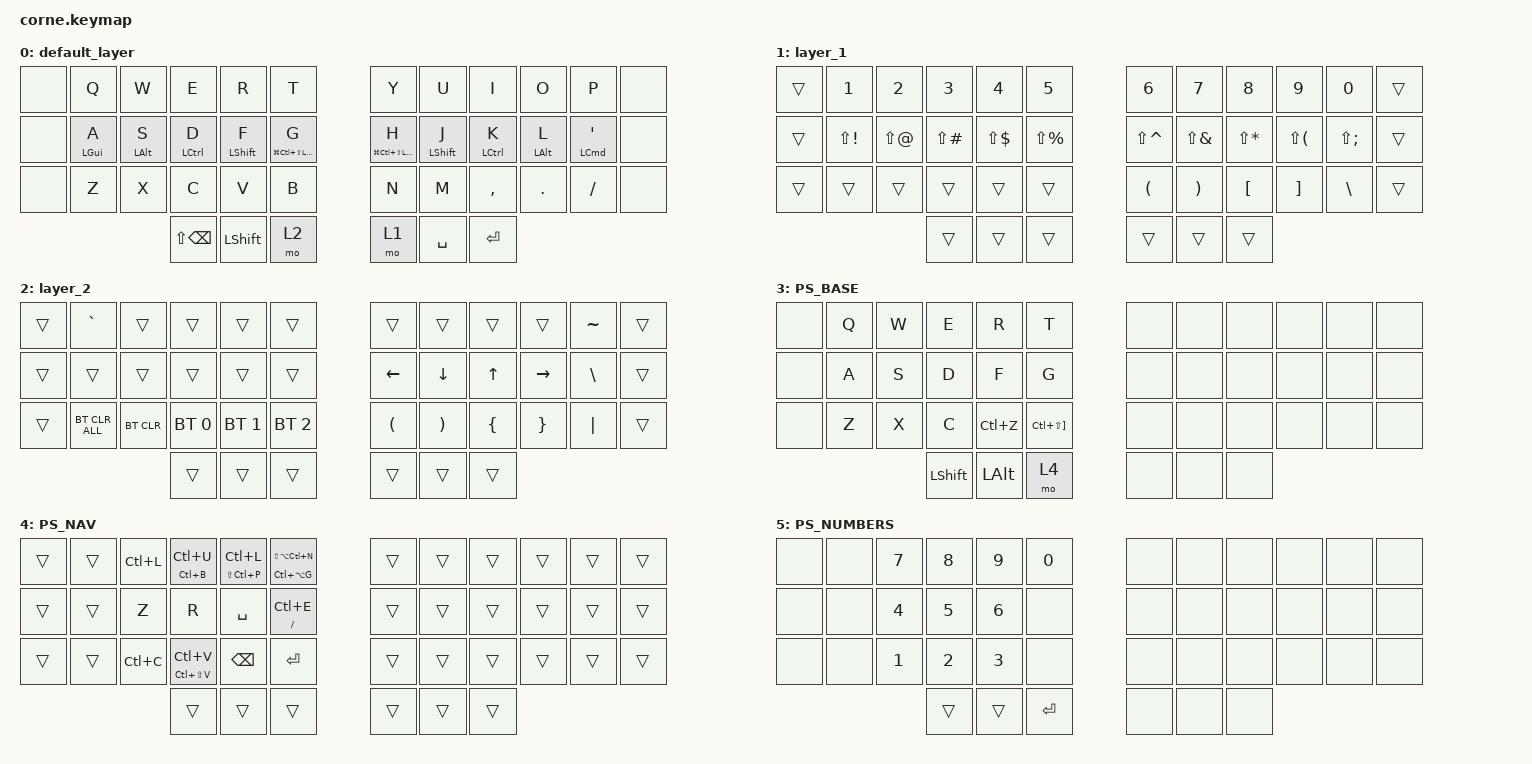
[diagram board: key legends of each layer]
/*
 * Copyright (c) 2020 The ZMK Contributors
 *
 * SPDX-License-Identifier: MIT
 */

#include <behaviors.dtsi>
#include <dt-bindings/zmk/bt.h>
#include <dt-bindings/zmk/keys.h>

/ {
    behaviors {
        hml: hml {
            compatible = "zmk,behavior-hold-tap";
            label = "HML";
            bindings = <&kp>, <&kp>;

            #binding-cells = <2>;
            tapping-term-ms = <280>;
            quick-tap-ms = <175>;
            require-prior-idle-ms = <80>;
            flavor = "balanced";
            hold-trigger-key-positions = <6 7 8 9 10 11 18 19 20 21 22 23 30 31 32 33 34 35 39 40 40 41 36 37 38>;
            hold-trigger-on-release;
        };

        hmr: hmr {
            compatible = "zmk,behavior-hold-tap";
            label = "HMR";
            bindings = <&kp>, <&kp>;

            #binding-cells = <2>;
            tapping-term-ms = <280>;
            quick-tap-ms = <175>;
            require-prior-idle-ms = <80>;
            flavor = "balanced";
            hold-trigger-key-positions = <0 1 2 4 5 12 13 14 15 16 17 24 25 26 27 28 29 36 37 38 3 39 40 41>;
            hold-trigger-on-release;
        };

        hyper_left: hyper_left {
            compatible = "zmk,behavior-hold-tap";
            label = "HYPER_LEFT";
            bindings = <&hyper>, <&kp>;

            #binding-cells = <2>;
            tapping-term-ms = <280>;
            quick-tap-ms = <170>;
            require-prior-idle-ms = <150>;
            flavor = "balanced";
            hold-trigger-key-positions = <6 7 8 9 10 11 18 19 20 21 22 23 30 31 32 33 34 35 39 40 41 38 36 37 38 36 37 38 39 40 41>;
        };

        hyper_right: hyper_right {
            compatible = "zmk,behavior-hold-tap";
            label = "HYPER_RIGHT";
            bindings = <&hyper>, <&kp>;

            #binding-cells = <2>;
            tapping-term-ms = <280>;
            quick-tap-ms = <170>;
            require-prior-idle-ms = <150>;
            flavor = "balanced";
            hold-trigger-key-positions = <0 1 2 3 4 5 12 13 14 15 16 17 24 25 26 27 28 29 36 37 38 39 40 41>;
        };

        td_laso_clear_selection: td_laso_clear_selection {
            compatible = "zmk,behavior-tap-dance";
            label = "TD_LASO_CLEAR_SELECTION";
            #binding-cells = <0>;
            bindings = <&kp L>, <&kp LC(D)>;

            tapping-term-ms = <400>;
        };

        td_marquee_reselect: td_marquee_reselect {
            compatible = "zmk,behavior-tap-dance";
            label = "TD_MARQUEE_RESELECT";
            #binding-cells = <0>;
            bindings = <&kp M>, <&kp LC(LS(D))>;

            tapping-term-ms = <400>;
        };

        td_brush_brush_erase: td_brush_brush_erase {
            compatible = "zmk,behavior-tap-dance";
            label = "TD_BRUSH_BRUSH_ERASE";
            #binding-cells = <0>;
            bindings = <&kp B>, <&kp GRAVE>;

            tapping-term-ms = <350>;
        };
    };

    combos {
        compatible = "zmk,combos";

        jk_esc {
            bindings = <&kp ESC>;
            key-positions = <19 20>;
            layers = <0 1 2>;
        };

        kl_und {
            bindings = <&kp UNDERSCORE>;
            key-positions = <33 32>;
            layers = <0 1 2>;
        };

        minus {
            bindings = <&kp MINUS>;
            key-positions = <20 21>;
            layers = <0 1 2>;
        };

        semicolon {
            bindings = <&kp SEMICOLON>;
            key-positions = <22 21>;
            layers = <0 1 2>;
        };

        equal {
            bindings = <&kp EQUAL>;
            key-positions = <19 18>;
            layers = <0 1 2>;
        };

        backtick {
            bindings = <&kp GRAVE>;
            key-positions = <1 2>;
            layers = <0 1 2>;
        };

        pipe {
            bindings = <&kp PIPE>;
            key-positions = <20 32>;
            layers = <0 1 2>;
        };

        right_parentheses {
            bindings = <&kp RIGHT_PARENTHESIS>;
            key-positions = <18 6>;
            layers = <0 1 2>;
        };

        left_parentheses {
            bindings = <&kp LEFT_PARENTHESIS>;
            key-positions = <5 17>;
            layers = <0 1 2>;
        };

        left_bracket {
            bindings = <&kp LEFT_BRACKET>;
            key-positions = <17 29>;
            layers = <0 1 2>;
        };

        right_bracket {
            bindings = <&kp RIGHT_BRACKET>;
            key-positions = <18 30>;
            layers = <0 1 2>;
        };

        tab {
            bindings = <&kp TAB>;
            key-positions = <16 15>;
            layers = <0 1 2 5>;
        };

        at {
            bindings = <&kp AT>;
            key-positions = <16 17>;
            layers = <0 1 2>;
        };

        left_brace {
            bindings = <&kp LEFT_BRACE>;
            key-positions = <16 28>;
            layers = <0 1 2>;
        };

        right_brace {
            bindings = <&kp RIGHT_BRACE>;
            key-positions = <19 31>;
            layers = <0 1 2>;
        };

        PS_TO_BASE_LAYER {
            bindings = <&to 3>;
            key-positions = <2 3 4>;
            layers = <0 5>;
        };

        PS_TO_DEFAULT_LAYER {
            bindings = <&to 0>;
            key-positions = <1 2 3>;
            layers = <3 4>;
        };

        PS_Invert_Selection {
            bindings = <&kp LC(LS(I))>;
            key-positions = <3 3 4>;
            layers = <3 4>;
        };

        PS_TO_NUMBERS_LAYER {
            bindings = <&to 5>;
            key-positions = <2 3 4>;
            layers = <3 4>;
        };

        PS_ENTER {
            bindings = <&kp ENTER>;
            key-positions = <16 17>;
            layers = <1 2 0>;
        };
    };

    macros {
        hyper: hyper {
            compatible = "zmk,behavior-macro";
            #binding-cells = <0>;
            bindings = <&kp LEFT_COMMAND &kp LEFT_ALT &kp LEFT_CONTROL &kp LEFT_SHIFT>;
            label = "HYPER";
        };
    };

    keymap {
        compatible = "zmk,keymap";

        default_layer {
            bindings = <
&none  &kp Q        &kp W            &kp E                &kp R              &kp T                      &kp Y                    &kp U              &kp I                &kp O            &kp P                           &none
&none  &hml LGUI A  &hml LEFT_ALT S  &hml LEFT_CONTROL D  &hml LEFT_SHIFT F  &hml LG(LC(LS(LALT))) G    &hmr LG(LC(LS(LALT))) H  &hmr LEFT_SHIFT J  &hmr LEFT_CONTROL K  &hmr LEFT_ALT L  &hmr LEFT_COMMAND SINGLE_QUOTE  &none
&none  &kp Z        &kp X            &kp C                &kp V              &kp B                      &kp N                    &kp M              &kp COMMA            &kp DOT          &kp FSLH                        &none
                                     &kp LS(BACKSPACE)    &kp LEFT_SHIFT     &mo 2                      &mo 1                    &kp SPACE          &kp ENTER
            >;
        };

        layer_1 {
            bindings = <
&trans  &kp N1        &kp N2      &kp N3         &kp N4        &kp N5           &kp N6                &kp N7                 &kp N8            &kp N9             &kp N0             &trans
&trans  &kp LS(EXCL)  &kp LS(AT)  &kp LS(POUND)  &kp LS(DLLR)  &kp LS(PRCNT)    &kp LS(CARET)         &kp LS(AMPS)           &kp LS(STAR)      &kp LS(LPAR)       &kp LS(SEMICOLON)  &trans
&trans  &trans        &trans      &trans         &trans        &trans           &kp LEFT_PARENTHESIS  &kp RIGHT_PARENTHESIS  &kp LEFT_BRACKET  &kp RIGHT_BRACKET  &kp BACKSLASH      &trans
                                  &trans         &trans        &trans           &trans                &trans                 &trans
            >;
        };

        layer_2 {
            bindings = <
&trans  &kp GRAVE       &trans      &trans        &trans        &trans          &trans                &trans                 &trans          &trans           &kp TILDE      &trans
&trans  &trans          &trans      &trans        &trans        &trans          &kp LEFT              &kp DOWN               &kp UP          &kp RIGHT        &kp BACKSLASH  &trans
&trans  &bt BT_CLR_ALL  &bt BT_CLR  &bt BT_SEL 0  &bt BT_SEL 1  &bt BT_SEL 2    &kp LEFT_PARENTHESIS  &kp RIGHT_PARENTHESIS  &kp LEFT_BRACE  &kp RIGHT_BRACE  &kp PIPE       &trans
                                    &trans        &trans        &trans          &trans                &trans                 &trans
            >;
        };

        PS_BASE {
            bindings = <
&none  &kp Q  &kp W  &kp E           &kp R         &kp T                        &none  &none  &none  &none  &none  &none
&none  &kp A  &kp S  &kp D           &kp F         &kp G                        &none  &none  &none  &none  &none  &none
&none  &kp Z  &kp X  &kp C           &kp LC(Z)     &kp LC(LS(RIGHT_BRACKET))    &none  &none  &none  &none  &none  &none
                     &kp LEFT_SHIFT  &kp LEFT_ALT  &mo 4                        &none  &none  &none
            >;
        };

        PS_NAV {
            bindings = <
&trans  &trans  &kp LC(L)  &mt LC(B) LC(U)      &mt LS(LC(P)) LC(L)  &mt LC(LA(G)) LS(LA(LC(N)))    &trans  &trans  &trans  &trans  &trans  &trans
&trans  &trans  &kp Z      &kp R                &kp SPACE            &mt SLASH LC(E)                &trans  &trans  &trans  &trans  &trans  &trans
&trans  &trans  &kp LC(C)  &mt LC(LS(V)) LC(V)  &kp BACKSPACE        &kp ENTER                      &trans  &trans  &trans  &trans  &trans  &trans
                           &trans               &trans               &trans                         &trans  &trans  &trans
            >;
        };

        PS_NUMBERS {
            bindings = <
&none  &none  &kp N7  &kp N8  &kp N9  &kp N0       &none  &none  &none  &none  &none  &none
&none  &none  &kp N4  &kp N5  &kp N6  &none        &none  &none  &none  &none  &none  &none
&none  &none  &kp N1  &kp N2  &kp N3  &none        &none  &none  &none  &none  &none  &none
                      &trans  &trans  &kp ENTER    &none  &none  &none
            >;
        };
    };
};
